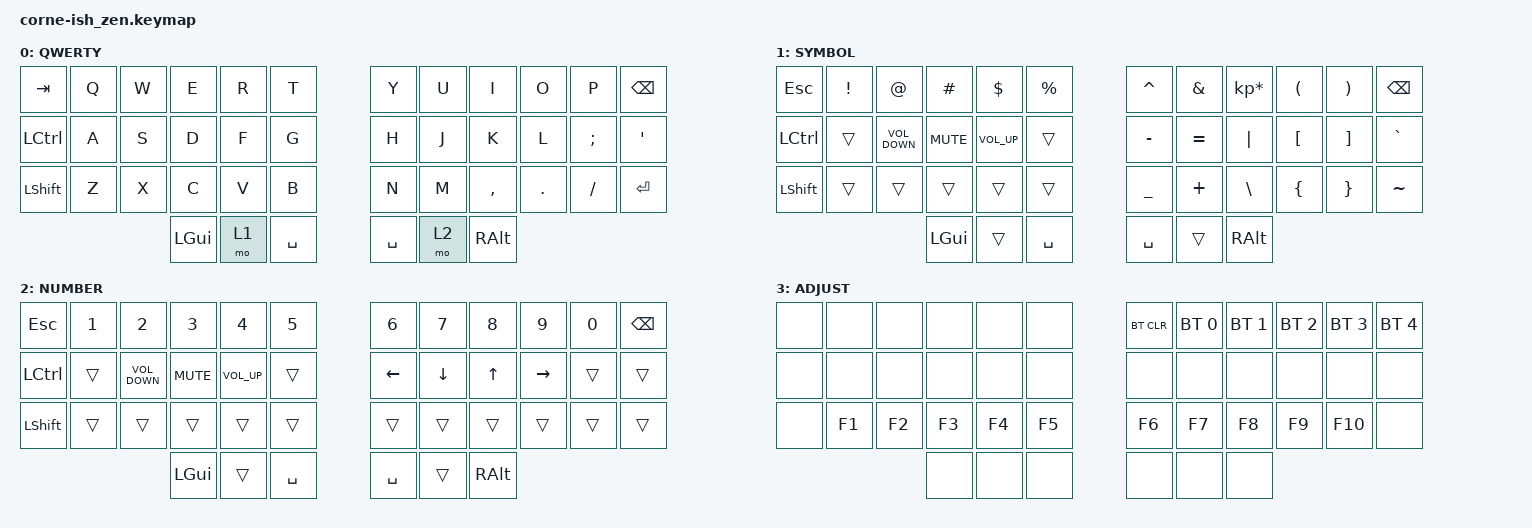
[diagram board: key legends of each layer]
/*
*
* Copyright (c) 2021 Darryl deHaan
* SPDX-License-Identifier: MIT
*
*/

#include <behaviors.dtsi>
#include <dt-bindings/zmk/keys.h>
#include <dt-bindings/zmk/bt.h>


#define DEFAULT 0
#define LOWER   1
#define RAISE   2
#define ADJUST  3

// Hold Left Control, Shift, Alt and GUI and press
#define SCNSHT &kp LC(LS(LA(LG(C))))
#define CMD_A   &kp LG(A)
#define CMD_S   &kp LG(S)
#define CMD_C   &kp LG(C)
#define CMD_V   &kp LG(V)
#define CMD_X   &kp LG(X)
#define CMD_Z   &kp LG(Z)


// https://github.com/stephen776/zmk-config/blob/main/config/corne.keymap

/ {

        conditional_layers {
          compatible = "zmk,conditional-layers";
          tri_layer {
            if-layers = <LOWER RAISE>;
            then-layer = <ADJUST>;
          };
        };    

        keymap {
                compatible = "zmk,keymap";

                default_layer {
                        label = "QWERTY";
// -----------------------------------------------------------------------------------------
// |  TAB |  Q  |  W  |  E  |  R  |  T  |   |  Y  |  U   |  I  |  O  |  P  | BKSP |
// | CTRL |  A  |  S  |  D  |  F  |  G  |   |  H  |  J   |  K  |  L  |  ;  |  '   |
// | SHFT |  Z  |  X  |  C  |  V  |  B  |   |  N  |  M   |  ,  |  .  |  /  | ENT  |
//                    | GUI | LWR | SPC |   | SPC | RSE  | ALT |
                        bindings = <
   &kp TAB   &kp Q &kp W &kp E &kp R &kp T      &kp Y &kp U  &kp I     &kp O   &kp P    &kp BSPC
   &kp LCTRL &kp A &kp S &kp D &kp F &kp G      &kp H &kp J  &kp K     &kp L   &kp SEMI &kp SQT
   &kp LSHFT &kp Z &kp X &kp C &kp V &kp B      &kp N &kp M  &kp COMMA &kp DOT &kp FSLH &kp RET
                   &kp LGUI    &mo 1 &kp SPACE    &kp SPACE &mo 2 &kp RALT
                        >;
                };
                lower_layer {
                        label = "SYMBOL";
// -----------------------------------------------------------------------------------------
// |  ESC |  !  |  @  |  #  |  $  |  %  |   |  ^  |  &  |  *  |  (  |  )  | BKSP |
// | CTRL |     | VOL-|MUTE | VOL+|     |   |  -  |  =  | "|" |  [  |  ]  |  `   |
// | SHFT |     |     |     |     |     |   |  _  |  +  |  \  |  {  |  }  |  ~   |
//                    | GUI |     | SPC |   | SPC |     | ALT |
                        bindings = <
   &kp  ESC  &kp EXCL &kp AT &kp HASH &kp DLLR &kp PRCNT   &kp CARET &kp AMPS  &kp KP_MULTIPLY &kp LPAR &kp RPAR &kp BSPC
   &kp LCTRL &trans   &kp C_VOLUME_DOWN     &kp C_MUTE       &kp C_VOLUME_UP   &trans      &kp MINUS &kp EQUAL &kp PIPE        &kp LBKT &kp RBKT  &kp GRAVE
   &kp LSHFT &trans   &trans &trans   &trans   &trans      &kp UNDER &kp PLUS  &kp BSLH        &kp LBRC &kp RBRC  &kp TILDE
                        &kp LGUI      &trans   &kp SPACE     &kp SPACE &trans   &kp RALT
                        >;
                };

                raise_layer {
                        label = "NUMBER";
// -----------------------------------------------------------------------------------------
// |  ESC |  1  |  2  |  3  |  4  |  5  |   |  6  |  7  |  8  |  9  |  0  | BKSP |
// | CTRL |     | VOL-|MUTE | VOL+|     |   | LFT | DWN |  UP | RGT |     |      |
// | SHFT |     |     |     |     |     |   |     |     |     |     |     |      |

//                    | GUI |     | SPC |   | SPC |     | ALT |
                        bindings = <

   &kp ESC    &kp N1       &kp N2                &kp N3           &kp N4                  &kp N5         &kp N6   &kp N7   &kp N8 &kp N9    &kp N0 &kp BSPC   
   &kp LCTRL  &trans       &kp C_VOLUME_DOWN     &kp C_MUTE       &kp C_VOLUME_UP       &trans         &kp LEFT &kp DOWN &kp UP &kp RIGHT &trans &trans
   &kp LSHFT  &trans       &trans                &trans           &trans                  &trans         &trans   &trans   &trans &trans    &trans &trans   
                    	   &kp LGUI &trans       &kp SPACE          &kp SPACE               &trans         &kp RALT
                        >;
                };

                adjust_layer {
                        label = "ADJUST";               
// --------------------------------------      -------------------------------------
// |      |     |     |     |     |     |      |BTCLR| BT1 | BT2 | BT3 | BT4 | BT5 |
// --------------------------------------      -------------------------------------
// |      |     |     |     |     |     |      |     |     |     |     |     |     |
// --------------------------------------      -------------------------------------
// |      |  F1 |  F2 |  F3 |  F4 |  F5 |      |  F6 |  F7 |  F8 |  F9 | F10 |     |
// --------------------------------------      -------------------------------------
//                    |     |     |     |      |     |     |     |
//                    -------------------      -------------------
                    bindings = <
   &none    &none   &none     &none    &none     &none     &bt BT_CLR  &bt BT_SEL 0  &bt BT_SEL 1  &bt BT_SEL 2  &bt BT_SEL 3  &bt BT_SEL 4
   &none    &none   &none     &none    &none     &none     &none       &none         &none         &none         &none         &none
   &none    &kp F1  &kp F2    &kp F3   &kp F4    &kp F5    &kp F6      &kp F7        &kp F8        &kp F9        &kp F10       &none
                              &none    &none     &none     &none       &none         &none 
                    >;
                };

    
        };
};
